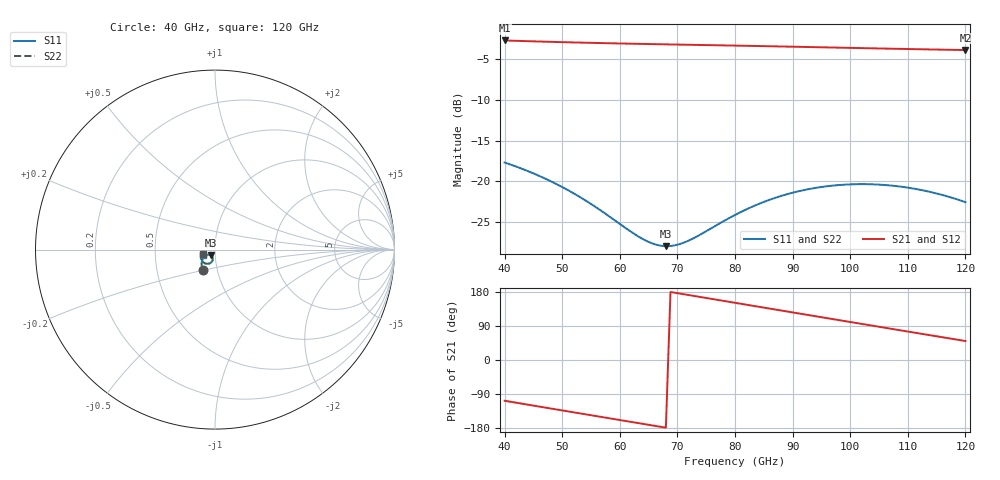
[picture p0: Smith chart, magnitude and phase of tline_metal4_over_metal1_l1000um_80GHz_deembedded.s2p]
! Created with skrf 2.2.0 (http://scikit-rf.org).
# GHz S DB R 50.0
! Port[1] = P1
! Port[2] = P2
!freq dBS11 angS11 dBS21 angS21 dBS12 angS12 dBS22 angS22
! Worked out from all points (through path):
!   101 points, 40 GHz to 120 GHz, reference 50 ohm
!   highest |S21| = -2.68 dB at 40 GHz (marker M1); lowest = -3.9 dB at 120 GHz (marker M2)
!   group delay of S21, straight-line fit = 7.03 ps
!   lowest |S11| = -28.0 dB at 68 GHz (marker M3), VSWR 1.08, Z = 47.7 - j3.14 ohm
!   |S11| at or under -10 dB: start of sweep to end of sweep
!   |S22| runs from -28.0 to -17.7 dB; largest |S21 - S12| = 1.1e-13
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40  -17.69 -120.0  -2.68 -107.5  -2.68 -107.5  -17.69 -120.1
46.4  -19.45 -134.1  -2.82 -123.9  -2.82 -123.9  -19.46 -134.2
50.4  -20.85 -141.1  -2.89 -134.0  -2.89 -134.0  -20.87 -141.2
53.6  -22.16 -145.2  -2.95 -142.2  -2.95 -142.2  -22.18 -145.3
57.6  -24.03 -147.3  -3.01 -152.3  -3.01 -152.3  -24.05 -147.4
60.8  -25.64 -145.3  -3.06 -160.4  -3.06 -160.4  -25.67 -145.4
64.8  -27.39 -136.3  -3.12 -170.5  -3.12 -170.5  -27.43 -136.4
67.2  -27.92 -127.8  -3.15 -176.6  -3.15 -176.6  -27.97 -127.7
68  -27.97 -124.7  -3.16 -178.6  -3.16 -178.6  -28.01 -124.6
69.6  -27.86 -118.6  -3.18 177.3  -3.18 177.3  -27.90 -118.5
72  -27.27 -111.0  -3.21 171.2  -3.21 171.2  -27.30 -110.9
76  -25.72 -103.9  -3.26 161.1  -3.26 161.1  -25.74 -103.8
80  -24.14 -102.9  -3.31 150.9  -3.31 150.9  -24.15 -102.9
83.2  -23.05 -104.9  -3.35 142.8  -3.35 142.8  -23.07 -104.9
87.2  -21.98 -109.4  -3.41 132.7  -3.41 132.7  -21.99 -109.4
93.6  -20.85 -118.9  -3.50 116.4  -3.50 116.4  -20.86 -119.0
96.8  -20.54 -124.3  -3.55 108.4  -3.55 108.4  -20.55 -124.3
100  -20.37 -129.7  -3.59 100.3  -3.59 100.3  -20.39 -129.8
103.2  -20.35 -135.1  -3.64 92.2  -3.64 92.2  -20.37 -135.2
107.2  -20.53 -141.7  -3.69 82.2  -3.69 82.2  -20.54 -141.8
113.6  -21.26 -151.3  -3.78 66.1  -3.78 66.1  -21.28 -151.4
120  -22.56 -158.5  -3.86 50.1  -3.86 50.1  -22.59 -158.6
